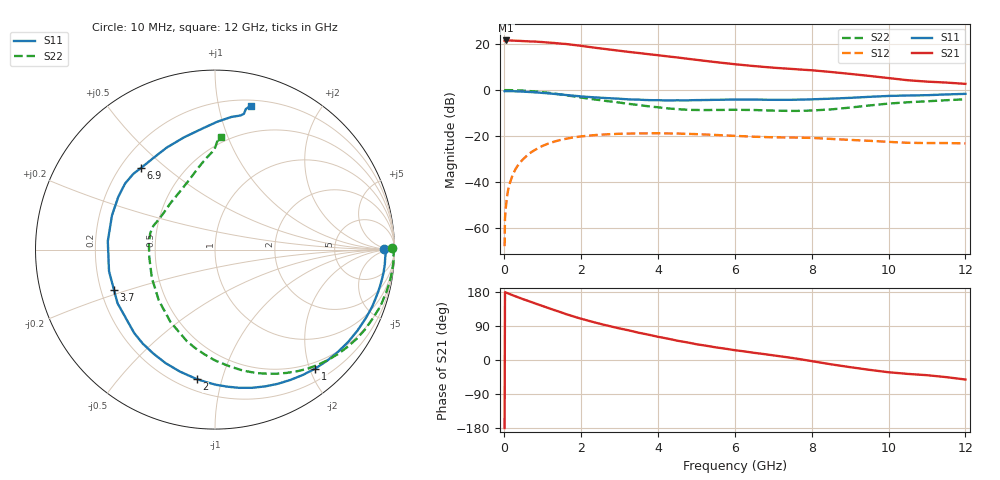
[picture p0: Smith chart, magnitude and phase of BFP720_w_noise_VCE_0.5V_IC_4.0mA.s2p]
! Infineon Technologies  Discrete & RF Semiconductors
! BFP720
! VCE =  0.5 V,  IC =  4.0 mA
! Common Emitter S-Parameters:  Aug 2012
# GHz  S  MA  R  50
!  f  S11  S21  S12  S22
! GHz  MAG  ANG  MAG  ANG  MAG  ANG  MAG  ANG
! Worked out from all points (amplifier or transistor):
!   105 points, 10 MHz to 12 GHz, reference 50 ohm
!   highest |S21| = 21.6 dB at 50 MHz (marker M1)
!   |S21| within 3 dB of that: start of sweep to 2.288 GHz
!   unconditionally stable (mu >= 1): 7.184 GHz to end of sweep
!   at 300 MHz: K = 0.04, MSG = 27.9 dB, |S12| = -34.2 dB
!   at 3.6 GHz: K = 0.43, MSG = 17.4 dB, |S12| = -18.8 dB
!   at 12 GHz: K = 1.10, MAG = 11.0 dB, |S12| = -23.2 dB
!   lowest NFmin = 0.37 dB at 450 MHz
!   S11 on the Smith chart (normalised r, x): 10 MHz: 34, +1; 1 GHz: 0.39, -2.09; 2 GHz: 0.27, -0.83; 3.7 GHz: 0.25, -0.18; 6.9 GHz: 0.28, +0.41; 12 GHz: 0.25, +1.25
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0.01  0.9432 0.1  11.88 -179.5  0.0004 74.4  0.9845 0.4
0.02  0.9524 -0.9  11.82 179.0  0.0016 84.8  0.9964 -0.7
0.05  0.9494 -2.5  12.01 177.7  0.0032 88.9  0.9952 -2.0
0.15  0.9481 -7.4  11.99 173.8  0.0096 85.1  0.9948 -6.0
0.4  0.9317 -19.8  11.75 164.0  0.0256 77.5  0.9783 -16.1
0.8  0.8914 -39.7  11.37 149.5  0.0498 64.9  0.9327 -32.2
1  0.8665 -49.9  11.06 142.4  0.061 58.5  0.8987 -40.4
1.3  0.8257 -64.9  10.57 131.8  0.0754 49.3  0.8395 -52.3
1.6  0.7818 -80.1  10.08 121.4  0.0868 40.7  0.7728 -63.5
2  0.7288 -97.9  9.157 109.0  0.0979 30.3  0.6884 -77.5
2.1  0.7163 -101.9  8.921 106.2  0.0998 28.0  0.6683 -80.6
2.4  0.6899 -113.5  8.258 97.9  0.1053 21.3  0.6175 -90.0
2.8  0.6607 -127.5  7.508 88.0  0.1102 13.7  0.559 -101.5
3.7  0.6063 -158.0  6.113 67.9  0.1142 -1.1  0.4489 -127.6
4.1  0.5982 -171.7  5.601 59.4  0.1143 -6.9  0.4123 -141.0
5  0.6046 161.8  4.551 41.6  0.1098 -18.6  0.3685 -172.9
6.1  0.6209 142.3  3.584 24.6  0.0998 -28.4  0.3711 164.5
6.9  0.6141 132.4  3.118 13.7  0.0941 -32.6  0.3588 154.1
8.5  0.6489 105.4  2.473 -11.3  0.0865 -43.5  0.379 120.6
9.5  0.7119 89.1  2.031 -25.9  0.0786 -47.6  0.4615 102.1
10.5  0.7608 79.2  1.636 -36.7  0.0711 -49.2  0.5425 91.8
12  0.8265 76.0  1.363 -51.5  0.0688 -51.7  0.629 87.2
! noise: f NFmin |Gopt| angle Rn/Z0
0.45  0.37  0.56  4  0.21
1.8  0.49  0.52  27  0.15
2.4  0.52  0.39  66  0.2
5.5  0.72  0.26  73  0.11
10  1.02  0.41  -96  0.21
